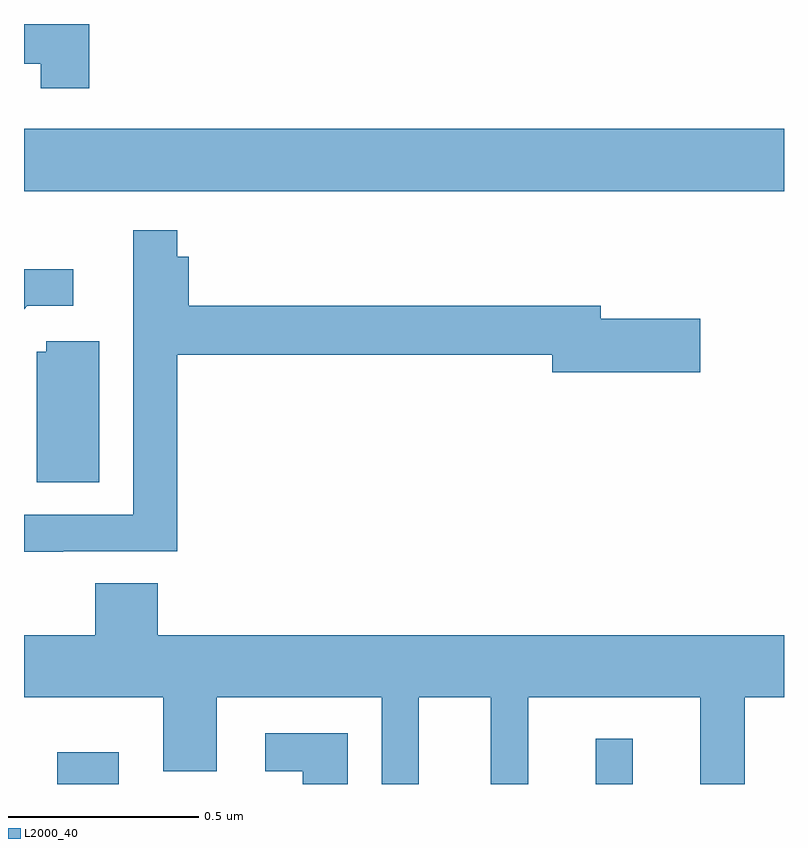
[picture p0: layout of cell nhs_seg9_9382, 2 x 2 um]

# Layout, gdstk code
import gdstk
lib = gdstk.Library(unit=1e-6, precision=1e-09)
def R(c, l, rs):  # rectangles x0, y0, x1, y1
    for r in rs: c.add(gdstk.rectangle(r[:2], r[2:], *l))
def P(c, l, *ps):  # polygons
    for p in ps: c.add(gdstk.Polygon(p, *l))
L2000_40 = (2000, 40)

nhs_seg9_9382 = lib.new_cell('nhs_seg9_9382')
R(nhs_seg9_9382, L2000_40, [(229.088,1221.5,229.249,1221.583), (230.505,1221.5,230.602,1221.619), (229,1223.06,231,1223.224)])
P(nhs_seg9_9382, L2000_40, [(229.172,1223.5),(229,1223.5),(229,1223.396),(229.044,1223.396),(229.044,1223.331),(229.172,1223.331)],
  [(229.103,1222.113),(229.403,1222.113),(229.403,1222.63),(230.39,1222.63),(230.39,1222.583),(230.779,1222.583),(230.779,1222.725),(230.518,1222.725),(230.518,1222.759),(229.433,1222.759),(229.433,1222.888),(229.403,1222.888),(229.403,1222.957),(229.287,1222.957),(229.287,1222.209),(229,1222.209),(229,1222.111),(229.103,1222.111)],
  [(229.008,1222.758),(229.129,1222.758),(229.129,1222.855),(229,1222.855),(229,1222.75)],
  [(229.198,1222.665),(229.059,1222.665),(229.059,1222.638),(229.034,1222.638),(229.034,1222.294),(229.198,1222.294)],
  [(230.039,1221.728),(230.228,1221.728),(230.228,1221.5),(230.327,1221.5),(230.327,1221.728),(230.78,1221.728),(230.78,1221.5),(230.897,1221.5),(230.897,1221.728),(231,1221.728),(231,1221.892),(229.352,1221.892),(229.352,1222.028),(229.187,1222.028),(229.187,1221.892),(229,1221.892),(229,1221.728),(229.367,1221.728),(229.367,1221.534),(229.507,1221.534),(229.507,1221.728),(229.941,1221.728),(229.941,1221.5),(230.039,1221.5)],
  [(229.852,1221.634),(229.635,1221.634),(229.635,1221.533),(229.733,1221.533),(229.733,1221.5),(229.852,1221.5)])

lib.write_gds('nhs_seg9_9382.gds')
